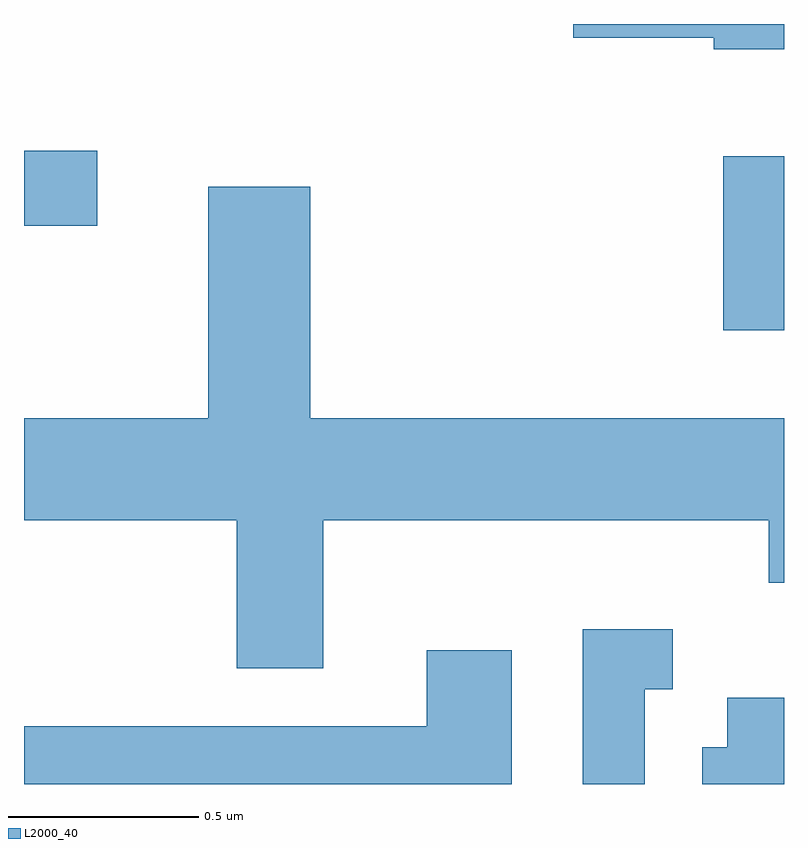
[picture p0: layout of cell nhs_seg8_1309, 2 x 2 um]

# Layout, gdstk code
import gdstk
lib = gdstk.Library(unit=1e-6, precision=1e-09)
def R(c, l, rs):  # rectangles x0, y0, x1, y1
    for r in rs: c.add(gdstk.rectangle(r[:2], r[2:], *l))
def P(c, l, *ps):  # polygons
    for p in ps: c.add(gdstk.Polygon(p, *l))
L2000_40 = (2000, 40)

nhs_seg8_1309 = lib.new_cell('nhs_seg8_1309')
R(nhs_seg8_1309, L2000_40, [(196.451,1883.536,196.611,1883.994), (194.611,1883.811,194.804,1884.009)])
P(nhs_seg8_1309, L2000_40, [(196.611,1884.342),(196.056,1884.342),(196.056,1884.306),(196.426,1884.306),(196.426,1884.276),(196.611,1884.276)],
  [(195.399,1883.036),(196.571,1883.036),(196.571,1882.871),(196.611,1882.871),(196.611,1883.304),(195.364,1883.304),(195.364,1883.914),(195.096,1883.914),(195.096,1883.304),(194.611,1883.304),(194.611,1883.036),(195.171,1883.036),(195.171,1882.646),(195.399,1882.646)],
  [(196.244,1882.591),(196.318,1882.591),(196.318,1882.749),(196.081,1882.749),(196.081,1882.342),(196.244,1882.342)],
  [(195.894,1882.694),(195.671,1882.694),(195.671,1882.494),(194.611,1882.494),(194.611,1882.342),(195.894,1882.342)],
  [(196.611,1882.569),(196.461,1882.569),(196.461,1882.439),(196.396,1882.439),(196.396,1882.342),(196.611,1882.342)])

lib.write_gds('nhs_seg8_1309.gds')
